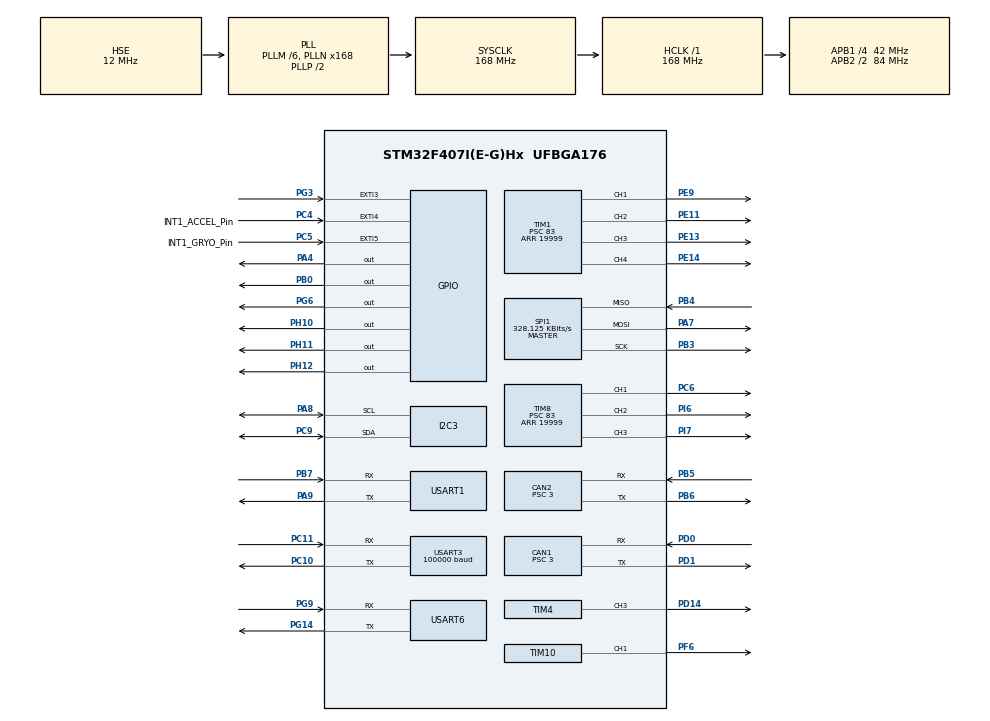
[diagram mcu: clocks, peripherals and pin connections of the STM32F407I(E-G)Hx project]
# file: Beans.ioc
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CAN1.BS1=CAN_BS1_10TQ
CAN1.BS2=CAN_BS2_3TQ
CAN1.CalculateBaudRate=1000000
CAN1.CalculateTimeBit=1000
CAN1.CalculateTimeQuantum=71.42857142857143
CAN1.Prescaler=3
CAN2.BS1=CAN_BS1_10TQ
CAN2.BS2=CAN_BS2_3TQ
CAN2.CalculateBaudRate=1000000
CAN2.CalculateTimeBit=1000
CAN2.CalculateTimeQuantum=71.42857142857143
CAN2.Prescaler=3
Dma.Request0=USART3_RX
Dma.Request1=USART1_TX
Dma.Request2=USART1_RX
Dma.Request3=USART6_RX
Dma.Request4=USART6_TX
Dma.USART1_RX.2.Direction=DMA_PERIPH_TO_MEMORY
Dma.USART1_RX.2.FIFOMode=DMA_FIFOMODE_DISABLE
Dma.USART1_RX.2.Instance=DMA2_Stream2
Dma.USART1_RX.2.MemDataAlignment=DMA_MDATAALIGN_BYTE
Dma.USART1_RX.2.MemInc=DMA_MINC_ENABLE
Dma.USART1_RX.2.Mode=DMA_NORMAL
Dma.USART1_RX.2.PeriphDataAlignment=DMA_PDATAALIGN_BYTE
Dma.USART1_RX.2.PeriphInc=DMA_PINC_DISABLE
Dma.USART1_RX.2.Priority=DMA_PRIORITY_VERY_HIGH
Dma.USART1_TX.1.Direction=DMA_MEMORY_TO_PERIPH
Dma.USART1_TX.1.FIFOMode=DMA_FIFOMODE_DISABLE
Dma.USART1_TX.1.Instance=DMA2_Stream7
Dma.USART1_TX.1.MemDataAlignment=DMA_MDATAALIGN_BYTE
Dma.USART1_TX.1.MemInc=DMA_MINC_ENABLE
Dma.USART1_TX.1.Mode=DMA_NORMAL
Dma.USART1_TX.1.PeriphDataAlignment=DMA_PDATAALIGN_BYTE
Dma.USART1_TX.1.PeriphInc=DMA_PINC_DISABLE
Dma.USART1_TX.1.Priority=DMA_PRIORITY_VERY_HIGH
Dma.USART3_RX.0.Direction=DMA_PERIPH_TO_MEMORY
Dma.USART3_RX.0.FIFOMode=DMA_FIFOMODE_DISABLE
Dma.USART3_RX.0.Instance=DMA1_Stream1
Dma.USART3_RX.0.MemDataAlignment=DMA_MDATAALIGN_BYTE
Dma.USART3_RX.0.MemInc=DMA_MINC_ENABLE
Dma.USART3_RX.0.Mode=DMA_CIRCULAR
Dma.USART3_RX.0.PeriphDataAlignment=DMA_PDATAALIGN_BYTE
Dma.USART3_RX.0.PeriphInc=DMA_PINC_DISABLE
Dma.USART3_RX.0.Priority=DMA_PRIORITY_VERY_HIGH
Dma.USART6_RX.3.Direction=DMA_PERIPH_TO_MEMORY
Dma.USART6_RX.3.FIFOMode=DMA_FIFOMODE_DISABLE
Dma.USART6_RX.3.Instance=DMA2_Stream1
Dma.USART6_RX.3.MemDataAlignment=DMA_MDATAALIGN_BYTE
Dma.USART6_RX.3.MemInc=DMA_MINC_ENABLE
Dma.USART6_RX.3.Mode=DMA_NORMAL
Dma.USART6_RX.3.PeriphDataAlignment=DMA_PDATAALIGN_BYTE
Dma.USART6_RX.3.PeriphInc=DMA_PINC_DISABLE
Dma.USART6_RX.3.Priority=DMA_PRIORITY_VERY_HIGH
Dma.USART6_TX.4.Direction=DMA_MEMORY_TO_PERIPH
Dma.USART6_TX.4.FIFOMode=DMA_FIFOMODE_DISABLE
Dma.USART6_TX.4.Instance=DMA2_Stream6
Dma.USART6_TX.4.MemDataAlignment=DMA_MDATAALIGN_BYTE
Dma.USART6_TX.4.MemInc=DMA_MINC_ENABLE
Dma.USART6_TX.4.Mode=DMA_NORMAL
Dma.USART6_TX.4.PeriphDataAlignment=DMA_PDATAALIGN_BYTE
Dma.USART6_TX.4.PeriphInc=DMA_PINC_DISABLE
Dma.USART6_TX.4.Priority=DMA_PRIORITY_VERY_HIGH
FREERTOS.INCLUDE_pcTaskGetTaskName=1
FREERTOS.INCLUDE_xTaskGetHandle=1
FREERTOS.Tasks01=defaultTask,32,1024,TaskMain,Default,NULL,Dynamic,NULL,NULL;chassisTask,40,1024,TaskChassis,Default,NULL,Dynamic,NULL,NULL;IMUtempPIDtask,24,512,imu_temp_control_task,As weak,NULL,Dynamic,NULL,NULL;turretTask,24,1024,TaskTurret,Default,NULL,Dynamic,NULL,NULL
FREERTOS.configUSE_NEWLIB_REENTRANT=1
I2C3.I2C_Mode=I2C_Fast
Mcu.Family=STM32F4
Mcu.Name=STM32F407I(E-G)Hx
Mcu.Package=UFBGA176
NVIC.CAN1_RX0_IRQn=true\:5\:0\:false\:false\:true\:true\:true\:true\:true
NVIC.CAN2_RX0_IRQn=true\:5\:0\:false\:false\:true\:true\:true\:true\:true
NVIC.DMA1_Stream1_IRQn=true\:5\:0\:false\:false\:true\:true\:false\:true\:true
NVIC.DMA2_Stream1_IRQn=true\:5\:0\:false\:false\:true\:true\:false\:true\:true
NVIC.DMA2_Stream2_IRQn=true\:5\:0\:false\:false\:true\:true\:false\:true\:true
NVIC.DMA2_Stream6_IRQn=true\:5\:0\:false\:false\:true\:true\:false\:true\:true
NVIC.DMA2_Stream7_IRQn=true\:5\:0\:false\:false\:true\:true\:false\:true\:true
NVIC.EXTI3_IRQn=true\:5\:0\:false\:false\:true\:true\:true\:true\:true
NVIC.EXTI4_IRQn=true\:5\:0\:false\:false\:true\:true\:true\:true\:true
NVIC.PriorityGroup=NVIC_PRIORITYGROUP_4
NVIC.USART1_IRQn=true\:5\:0\:false\:false\:true\:true\:true\:true\:true
NVIC.USART3_IRQn=true\:5\:0\:false\:false\:false\:true\:true\:true\:true
NVIC.USART6_IRQn=true\:5\:0\:false\:false\:true\:true\:true\:true\:true
PA13.Mode=Serial_Wire
PA13.Signal=SYS_JTMS-SWDIO
PA14.Mode=Serial_Wire
PA14.Signal=SYS_JTCK-SWCLK
PA4.Signal=GPIO_Output
PA7.Mode=Full_Duplex_Master
PA7.Signal=SPI1_MOSI
PA8.Mode=I2C
PA8.Signal=I2C3_SCL
PA9.Mode=Asynchronous
PA9.Signal=USART1_TX
PB0.Signal=GPIO_Output
PB3.Mode=Full_Duplex_Master
PB3.Signal=SPI1_SCK
PB4.Mode=Full_Duplex_Master
PB4.Signal=SPI1_MISO
PB5.Mode=CAN_Activate
PB5.Signal=CAN2_RX
PB6.Mode=CAN_Activate
PB6.Signal=CAN2_TX
PB7.Mode=Asynchronous
PB7.Signal=USART1_RX
PC10.Mode=Asynchronous
PC10.Signal=USART3_TX
PC11.Mode=Asynchronous
PC11.Signal=USART3_RX
PC4.GPIO_Label=INT1_ACCEL_Pin
PC4.Signal=GPXTI4
PC5.GPIO_Label=INT1_GRYO_Pin
PC5.Signal=GPXTI5
PC6.Signal=S_TIM8_CH1
PC9.Mode=I2C
PC9.Signal=I2C3_SDA
PD0.Mode=CAN_Activate
PD0.Signal=CAN1_RX
PD1.Mode=CAN_Activate
PD1.Signal=CAN1_TX
PD14.Signal=S_TIM4_CH3
PE11.Signal=S_TIM1_CH2
PE13.Signal=S_TIM1_CH3
PE14.Signal=S_TIM1_CH4
PE9.Signal=S_TIM1_CH1
PF6.GPIO_PuPd=GPIO_PULLUP
PF6.GPIO_Speed=GPIO_SPEED_FREQ_HIGH
PF6.Signal=S_TIM10_CH1
PG14.Mode=Asynchronous
PG14.Signal=USART6_TX
PG3.Signal=GPXTI3
PG6.Signal=GPIO_Output
PG9.Mode=Asynchronous
PG9.Signal=USART6_RX
PH0-OSC_IN.Mode=HSE-External-Oscillator
PH0-OSC_IN.Signal=RCC_OSC_IN
PH1-OSC_OUT.Mode=HSE-External-Oscillator
PH1-OSC_OUT.Signal=RCC_OSC_OUT
PH10.Signal=GPIO_Output
PH11.Signal=GPIO_Output
PH12.Signal=GPIO_Output
PI6.Signal=S_TIM8_CH2
PI7.Signal=S_TIM8_CH3
ProjectManager.HeapSize=0x200
ProjectManager.StackSize=0x400
ProjectManager.TargetToolchain=STM32CubeIDE
RCC.48MHZClocksFreq_Value=84000000
RCC.AHBFreq_Value=168000000
RCC.APB1CLKDivider=RCC_HCLK_DIV4
RCC.APB1Freq_Value=42000000
RCC.APB1TimFreq_Value=84000000
RCC.APB2CLKDivider=RCC_HCLK_DIV2
RCC.APB2Freq_Value=84000000
RCC.APB2TimFreq_Value=168000000
RCC.CortexFreq_Value=168000000
RCC.EnbaleCSS=true
RCC.HCLKFreq_Value=168000000
RCC.HSE_VALUE=12000000
RCC.HSI_VALUE=16000000
RCC.LSE_VALUE=32768
RCC.PLLM=6
RCC.PLLN=168
RCC.PLLSourceVirtual=RCC_PLLSOURCE_HSE
RCC.SYSCLKFreq_VALUE=168000000
RCC.SYSCLKSource=RCC_SYSCLKSOURCE_PLLCLK
RCC.VCOOutputFreq_Value=336000000
SH.S_TIM10_CH1.0=TIM10_CH1,PWM Generation1 CH1
SH.S_TIM1_CH1.0=TIM1_CH1,PWM Generation1 CH1
SH.S_TIM1_CH2.0=TIM1_CH2,PWM Generation2 CH2
SH.S_TIM1_CH3.0=TIM1_CH3,PWM Generation3 CH3
SH.S_TIM1_CH4.0=TIM1_CH4,PWM Generation4 CH4
SH.S_TIM4_CH3.0=TIM4_CH3,PWM Generation3 CH3
SH.S_TIM8_CH1.0=TIM8_CH1,PWM Generation1 CH1
SH.S_TIM8_CH2.0=TIM8_CH2,PWM Generation2 CH2
SH.S_TIM8_CH3.0=TIM8_CH3,PWM Generation3 CH3
SPI1.BaudRatePrescaler=SPI_BAUDRATEPRESCALER_256
SPI1.CLKPhase=SPI_PHASE_2EDGE
SPI1.CLKPolarity=SPI_POLARITY_HIGH
SPI1.CalculateBaudRate=328.125 KBits/s
SPI1.Direction=SPI_DIRECTION_2LINES
SPI1.Mode=SPI_MODE_MASTER
SPI1.VirtualType=VM_MASTER
TIM1.AutoReloadPreload=TIM_AUTORELOAD_PRELOAD_DISABLE
TIM1.Channel-PWM\ Generation1\ CH1=TIM_CHANNEL_1
TIM1.Channel-PWM\ Generation2\ CH2=TIM_CHANNEL_2
TIM1.Channel-PWM\ Generation3\ CH3=TIM_CHANNEL_3
TIM1.Channel-PWM\ Generation4\ CH4=TIM_CHANNEL_4
TIM1.Period=19999
TIM1.Prescaler=83
TIM1.Pulse-PWM\ Generation1\ CH1=0
TIM10.Channel=TIM_CHANNEL_1
TIM10.Period=4999
TIM4.AutoReloadPreload=TIM_AUTORELOAD_PRELOAD_ENABLE
TIM4.Channel-PWM\ Generation3\ CH3=TIM_CHANNEL_3
TIM4.Period=20999
TIM4.Pulse-PWM\ Generation3\ CH3=10499
TIM8.AutoReloadPreload=TIM_AUTORELOAD_PRELOAD_ENABLE
TIM8.Channel-PWM\ Generation1\ CH1=TIM_CHANNEL_1
TIM8.Channel-PWM\ Generation2\ CH2=TIM_CHANNEL_2
TIM8.Channel-PWM\ Generation3\ CH3=TIM_CHANNEL_3
TIM8.Period=19999
TIM8.Prescaler=83
USART1.VirtualMode=VM_ASYNC
USART3.BaudRate=100000
USART3.Parity=PARITY_EVEN
USART3.VirtualMode=VM_ASYNC
USART6.VirtualMode=VM_ASYNC
VP_FREERTOS_VS_CMSIS_V2.Mode=CMSIS_V2
VP_TIM10_VS_ClockSourceINT.Mode=Enable_Timer
VP_TIM4_VS_ClockSourceINT.Mode=Internal
board=custom

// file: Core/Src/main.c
/* USER CODE BEGIN Header */
/**
  ******************************************************************************
  * @file           : main.c
  * @brief          : Main program body
  ******************************************************************************
  * @attention
  *
  * Copyright (c) 2024 STMicroelectronics.
  * All rights reserved.
  *
  * This software is licensed under terms that can be found in the LICENSE file
  * in the root directory of this software component.
  * If no LICENSE file comes with this software, it is provided AS-IS.
  *
  ******************************************************************************
  */
/* USER CODE END Header */
#include "main.h"
#include "cmsis_os.h"

/* USER CODE BEGIN Includes */
#include "CAN_receive.h"
#include "bsp_can.h"
#include "remote_control.h"
#include "bsp_rc.h"
#include "UART.h"
#include "stdio.h"
#include "stdarg.h"
#include "string.h"
#include "BMI088driver.h"
#include "pid.h"
#include "bsp_imu_pwm.h"
#include "ist8310driver.h"
/* USER CODE END Includes */

CAN_HandleTypeDef hcan1;
CAN_HandleTypeDef hcan2;

I2C_HandleTypeDef hi2c3;

SPI_HandleTypeDef hspi1;

TIM_HandleTypeDef htim1;
TIM_HandleTypeDef htim4;
TIM_HandleTypeDef htim8;
TIM_HandleTypeDef htim10;

UART_HandleTypeDef huart1;
UART_HandleTypeDef huart3;
UART_HandleTypeDef huart6;
DMA_HandleTypeDef hdma_usart1_tx;
DMA_HandleTypeDef hdma_usart1_rx;
DMA_HandleTypeDef hdma_usart3_rx;
DMA_HandleTypeDef hdma_usart6_rx;
DMA_HandleTypeDef hdma_usart6_tx;

/* Definitions for defaultTask */
osThreadId_t defaultTaskHandle;
const osThreadAttr_t defaultTask_attributes = {
  .name = "defaultTask",
  .stack_size = 1024 * 4,
  .priority = (osPriority_t) osPriorityAboveNormal,
};
/* Definitions for chassisTask */
osThreadId_t chassisTaskHandle;
const osThreadAttr_t chassisTask_attributes = {
  .name = "chassisTask",
  .stack_size = 1024 * 4,
  .priority = (osPriority_t) osPriorityHigh,
};
/* Definitions for IMUtempPIDtask */
osThreadId_t IMUtempPIDtaskHandle;
const osThreadAttr_t IMUtempPIDtask_attributes = {
  .name = "IMUtempPIDtask",
  .stack_size = 512 * 4,
  .priority = (osPriority_t) osPriorityNormal,
};
/* Definitions for turretTask */
osThreadId_t turretTaskHandle;
const osThreadAttr_t turretTask_attributes = {
  .name = "turretTask",
  .stack_size = 1024 * 4,
  .priority = (osPriority_t) osPriorityNormal,
};
/* USER CODE BEGIN PV */
const RC_ctrl_t *local_rc_ctrl;

PID_preset_t chassisPreset = {3.6, 0.015, 4.2};  //0.8f, 0.025f, 0.95f   {1.6, 0.045, 0.10}; 32 0.42
PID_preset_t yawPresetCurrentRPM = {46, 10.0, 16.4};
PID_preset_t yawPresetVoltageRPM = {50, 8.0, 2.0};
PID_preset_t yawPresetCurrentPosition = {12, 1, 0.0};

PID_preset_t yawPresetVoltagePosition = {36, 0, 0.0};

PID_preset_t indexerPreset = {1.1f, 0.02f, -2.4f};
PID_preset_t shooterPreset = {1.20f, 0.12f, 1.60f};
PID_preset_t powerPreset = {0, 0.000000000001, 0};
PID_preset_t customPreset = {0, 0, 0};

int target = 2000;

can_msg_id_e boardID = CAN_b2b_B_ID;               // remember to change the board ID, board A - chassis, board B - Pitch axis

chassis_motor_config chassis = {{1,2,3,4,0,0,0,0}};
chassis_motor_RPM chassisTargetRPM = {{0,0,0,0,0,0,0,0}};
chassis_motor_current chassisTargetCurrent = {{0,0,0,0,0,0,0,0}};

extern game_status_t game_status;
extern power_heat_data_t power_heat_data;
extern robot_status_t robot_status;
extern b2b_motorCtrl_t b2bMotorCtrl;
extern b2b_gyro_t b2bGyro;

float calcChassisPower = 0;

/* USER CODE END PV */

void SystemClock_Config(void);
static void MX_GPIO_Init(void);
static void MX_DMA_Init(void);
static void MX_CAN1_Init(void);
static void MX_CAN2_Init(void);
static void MX_SPI1_Init(void);
static void MX_TIM4_Init(void);
static void MX_USART1_UART_Init(void);
static void MX_USART6_UART_Init(void);
static void MX_TIM1_Init(void);
static void MX_TIM8_Init(void);
static void MX_USART3_UART_Init(void);
static void MX_TIM10_Init(void);
static void MX_I2C3_Init(void);
void TaskMain(void *argument);
void TaskChassis(void *argument);
void imu_temp_control_task(void *argument);
void TaskTurret(void *argument);

int main(void)
{

  /* MCU Configuration--------------------------------------------------------*/

  /* Reset of all peripherals, Initializes the Flash interface and the Systick. */
  HAL_Init();

  /* Configure the system clock */
  SystemClock_Config();

  /* Initialize all configured peripherals */
  MX_GPIO_Init();
  MX_DMA_Init();
  MX_CAN1_Init();
  MX_CAN2_Init();
  MX_SPI1_Init();
  MX_TIM4_Init();
  MX_USART1_UART_Init();
  MX_USART6_UART_Init();
  MX_TIM1_Init();
  MX_TIM8_Init();
  MX_USART3_UART_Init();
  MX_TIM10_Init();
  MX_I2C3_Init();
  /* USER CODE BEGIN 2 */
  can_filter_init();
  remote_control_init();
  usart_Init();
  local_rc_ctrl = get_remote_control_point();

  //__HAL_UART_ENABLE_IT(&huart1,UART_IT_IDLE);
  /* USER CODE END 2 */

  /* Init scheduler */
  osKernelInitialize();

  /* Create the thread(s) */
  /* creation of defaultTask */
  defaultTaskHandle = osThreadNew(TaskMain, NULL, &defaultTask_attributes);

  /* creation of chassisTask */
  chassisTaskHandle = osThreadNew(TaskChassis, NULL, &chassisTask_attributes);

  /* creation of IMUtempPIDtask */
  IMUtempPIDtaskHandle = osThreadNew(imu_temp_control_task, NULL, &IMUtempPIDtask_attributes);

  /* creation of turretTask */
  turretTaskHandle = osThreadNew(TaskTurret, NULL, &turretTask_attributes);

  /* Start scheduler */
  osKernelStart();

  /* We should never get here as control is now taken by the scheduler */
  /* Infinite loop */
  while (1)
  {

  }
}

void SystemClock_Config(void)
{
  RCC_OscInitTypeDef RCC_OscInitStruct = {0};
  RCC_ClkInitTypeDef RCC_ClkInitStruct = {0};

  /** Configure the main internal regulator output voltage
  */
  __HAL_RCC_PWR_CLK_ENABLE();
  __HAL_PWR_VOLTAGESCALING_CONFIG(PWR_REGULATOR_VOLTAGE_SCALE1);

  /** Initializes the RCC Oscillators according to the specified parameters
  * in the RCC_OscInitTypeDef structure.
  */
  RCC_OscInitStruct.OscillatorType = RCC_OSCILLATORTYPE_HSE;
  RCC_OscInitStruct.HSEState = RCC_HSE_ON;
  RCC_OscInitStruct.PLL.PLLState = RCC_PLL_ON;
  RCC_OscInitStruct.PLL.PLLSource = RCC_PLLSOURCE_HSE;
  RCC_OscInitStruct.PLL.PLLM = 6;
  RCC_OscInitStruct.PLL.PLLN = 168;
  RCC_OscInitStruct.PLL.PLLP = RCC_PLLP_DIV2;
  RCC_OscInitStruct.PLL.PLLQ = 4;
  if (HAL_RCC_OscConfig(&RCC_OscInitStruct) != HAL_OK)
  {
    Error_Handler();
  }

  /** Initializes the CPU, AHB and APB buses clocks
  */
  RCC_ClkInitStruct.ClockType = RCC_CLOCKTYPE_HCLK|RCC_CLOCKTYPE_SYSCLK
                              |RCC_CLOCKTYPE_PCLK1|RCC_CLOCKTYPE_PCLK2;
  RCC_ClkInitStruct.SYSCLKSource = RCC_SYSCLKSOURCE_PLLCLK;
  RCC_ClkInitStruct.AHBCLKDivider = RCC_SYSCLK_DIV1;
  RCC_ClkInitStruct.APB1CLKDivider = RCC_HCLK_DIV4;
  RCC_ClkInitStruct.APB2CLKDivider = RCC_HCLK_DIV2;

  if (HAL_RCC_ClockConfig(&RCC_ClkInitStruct, FLASH_LATENCY_5) != HAL_OK)
  {
    Error_Handler();
  }

  /** Enables the Clock Security System
  */
  HAL_RCC_EnableCSS();
}

static void MX_CAN1_Init(void)
{

  hcan1.Instance = CAN1;
  hcan1.Init.Prescaler = 3;
  hcan1.Init.Mode = CAN_MODE_NORMAL;
  hcan1.Init.SyncJumpWidth = CAN_SJW_1TQ;
  hcan1.Init.TimeSeg1 = CAN_BS1_10TQ;
  hcan1.Init.TimeSeg2 = CAN_BS2_3TQ;
  hcan1.Init.TimeTriggeredMode = DISABLE;
  hcan1.Init.AutoBusOff = DISABLE;
  hcan1.Init.AutoWakeUp = DISABLE;
  hcan1.Init.AutoRetransmission = DISABLE;
  hcan1.Init.ReceiveFifoLocked = DISABLE;
  hcan1.Init.TransmitFifoPriority = DISABLE;
  if (HAL_CAN_Init(&hcan1) != HAL_OK)
  {
    Error_Handler();
  }

}

static void MX_CAN2_Init(void)
{

  hcan2.Instance = CAN2;
  hcan2.Init.Prescaler = 3;
  hcan2.Init.Mode = CAN_MODE_NORMAL;
  hcan2.Init.SyncJumpWidth = CAN_SJW_1TQ;
  hcan2.Init.TimeSeg1 = CAN_BS1_10TQ;
  hcan2.Init.TimeSeg2 = CAN_BS2_3TQ;
  hcan2.Init.TimeTriggeredMode = DISABLE;
  hcan2.Init.AutoBusOff = DISABLE;
  hcan2.Init.AutoWakeUp = DISABLE;
  hcan2.Init.AutoRetransmission = DISABLE;
  hcan2.Init.ReceiveFifoLocked = DISABLE;
  hcan2.Init.TransmitFifoPriority = DISABLE;
  if (HAL_CAN_Init(&hcan2) != HAL_OK)
  {
    Error_Handler();
  }

}

static void MX_I2C3_Init(void)
{

  hi2c3.Instance = I2C3;
  hi2c3.Init.ClockSpeed = 400000;
  hi2c3.Init.DutyCycle = I2C_DUTYCYCLE_2;
  hi2c3.Init.OwnAddress1 = 0;
  hi2c3.Init.AddressingMode = I2C_ADDRESSINGMODE_7BIT;
  hi2c3.Init.DualAddressMode = I2C_DUALADDRESS_DISABLE;
  hi2c3.Init.OwnAddress2 = 0;
  hi2c3.Init.GeneralCallMode = I2C_GENERALCALL_DISABLE;
  hi2c3.Init.NoStretchMode = I2C_NOSTRETCH_DISABLE;
  if (HAL_I2C_Init(&hi2c3) != HAL_OK)
  {
    Error_Handler();
  }

}

static void MX_SPI1_Init(void)
{

  /* SPI1 parameter configuration*/
  hspi1.Instance = SPI1;
  hspi1.Init.Mode = SPI_MODE_MASTER;
  hspi1.Init.Direction = SPI_DIRECTION_2LINES;
  hspi1.Init.DataSize = SPI_DATASIZE_8BIT;
  hspi1.Init.CLKPolarity = SPI_POLARITY_HIGH;
  hspi1.Init.CLKPhase = SPI_PHASE_2EDGE;
  hspi1.Init.NSS = SPI_NSS_SOFT;
  hspi1.Init.BaudRatePrescaler = SPI_BAUDRATEPRESCALER_256;
  hspi1.Init.FirstBit = SPI_FIRSTBIT_MSB;
  hspi1.Init.TIMode = SPI_TIMODE_DISABLE;
  hspi1.Init.CRCCalculation = SPI_CRCCALCULATION_DISABLE;
  hspi1.Init.CRCPolynomial = 10;
  if (HAL_SPI_Init(&hspi1) != HAL_OK)
  {
    Error_Handler();
  }

}

static void MX_TIM1_Init(void)
{

  TIM_MasterConfigTypeDef sMasterConfig = {0};
  TIM_OC_InitTypeDef sConfigOC = {0};
  TIM_BreakDeadTimeConfigTypeDef sBreakDeadTimeConfig = {0};

  htim1.Instance = TIM1;
  htim1.Init.Prescaler = 83;
  htim1.Init.CounterMode = TIM_COUNTERMODE_UP;
  htim1.Init.Period = 19999;
  htim1.Init.ClockDivision = TIM_CLOCKDIVISION_DIV1;
  htim1.Init.RepetitionCounter = 0;
  htim1.Init.AutoReloadPreload = TIM_AUTORELOAD_PRELOAD_DISABLE;
  if (HAL_TIM_PWM_Init(&htim1) != HAL_OK)
  {
    Error_Handler();
  }
  sMasterConfig.MasterOutputTrigger = TIM_TRGO_RESET;
  sMasterConfig.MasterSlaveMode = TIM_MASTERSLAVEMODE_DISABLE;
  if (HAL_TIMEx_MasterConfigSynchronization(&htim1, &sMasterConfig) != HAL_OK)
  {
    Error_Handler();
  }
  sConfigOC.OCMode = TIM_OCMODE_PWM1;
  sConfigOC.Pulse = 0;
  sConfigOC.OCPolarity = TIM_OCPOLARITY_HIGH;
  sConfigOC.OCNPolarity = TIM_OCNPOLARITY_HIGH;
  sConfigOC.OCFastMode = TIM_OCFAST_DISABLE;
  sConfigOC.OCIdleState = TIM_OCIDLESTATE_RESET;
  sConfigOC.OCNIdleState = TIM_OCNIDLESTATE_RESET;
  if (HAL_TIM_PWM_ConfigChannel(&htim1, &sConfigOC, TIM_CHANNEL_1) != HAL_OK)
  {
    Error_Handler();
  }
  if (HAL_TIM_PWM_ConfigChannel(&htim1, &sConfigOC, TIM_CHANNEL_2) != HAL_OK)
  {
    Error_Handler();
  }
  if (HAL_TIM_PWM_ConfigChannel(&htim1, &sConfigOC, TIM_CHANNEL_3) != HAL_OK)
  {
    Error_Handler();
  }
  if (HAL_TIM_PWM_ConfigChannel(&htim1, &sConfigOC, TIM_CHANNEL_4) != HAL_OK)
  {
    Error_Handler();
  }
  sBreakDeadTimeConfig.OffStateRunMode = TIM_OSSR_DISABLE;
  sBreakDeadTimeConfig.OffStateIDLEMode = TIM_OSSI_DISABLE;
  sBreakDeadTimeConfig.LockLevel = TIM_LOCKLEVEL_OFF;
  sBreakDeadTimeConfig.DeadTime = 0;
  sBreakDeadTimeConfig.BreakState = TIM_BREAK_DISABLE;
  sBreakDeadTimeConfig.BreakPolarity = TIM_BREAKPOLARITY_HIGH;
  sBreakDeadTimeConfig.AutomaticOutput = TIM_AUTOMATICOUTPUT_DISABLE;
  if (HAL_TIMEx_ConfigBreakDeadTime(&htim1, &sBreakDeadTimeConfig) != HAL_OK)
  {
    Error_Handler();
  }
  HAL_TIM_MspPostInit(&htim1);

}

static void MX_TIM4_Init(void)
{

  TIM_ClockConfigTypeDef sClockSourceConfig = {0};
  TIM_MasterConfigTypeDef sMasterConfig = {0};
  TIM_OC_InitTypeDef sConfigOC = {0};

  htim4.Instance = TIM4;
  htim4.Init.Prescaler = 0;
  htim4.Init.CounterMode = TIM_COUNTERMODE_UP;
  htim4.Init.Period = 20999;
  htim4.Init.ClockDivision = TIM_CLOCKDIVISION_DIV1;
  htim4.Init.AutoReloadPreload = TIM_AUTORELOAD_PRELOAD_ENABLE;
  if (HAL_TIM_Base_Init(&htim4) != HAL_OK)
  {
    Error_Handler();
  }
  sClockSourceConfig.ClockSource = TIM_CLOCKSOURCE_INTERNAL;
  if (HAL_TIM_ConfigClockSource(&htim4, &sClockSourceConfig) != HAL_OK)
  {
    Error_Handler();
  }
  if (HAL_TIM_PWM_Init(&htim4) != HAL_OK)
  {
    Error_Handler();
  }
  sMasterConfig.MasterOutputTrigger = TIM_TRGO_RESET;
  sMasterConfig.MasterSlaveMode = TIM_MASTERSLAVEMODE_DISABLE;
  if (HAL_TIMEx_MasterConfigSynchronization(&htim4, &sMasterConfig) != HAL_OK)
  {
    Error_Handler();
  }
  sConfigOC.OCMode = TIM_OCMODE_PWM1;
  sConfigOC.Pulse = 10499;
  sConfigOC.OCPolarity = TIM_OCPOLARITY_HIGH;
  sConfigOC.OCFastMode = TIM_OCFAST_DISABLE;
  if (HAL_TIM_PWM_ConfigChannel(&htim4, &sConfigOC, TIM_CHANNEL_3) != HAL_OK)
  {
    Error_Handler();
  }
  HAL_TIM_MspPostInit(&htim4);

}

static void MX_TIM8_Init(void)
{

  TIM_MasterConfigTypeDef sMasterConfig = {0};
  TIM_OC_InitTypeDef sConfigOC = {0};
  TIM_BreakDeadTimeConfigTypeDef sBreakDeadTimeConfig = {0};

  htim8.Instance = TIM8;
  htim8.Init.Prescaler = 83;
  htim8.Init.CounterMode = TIM_COUNTERMODE_UP;
  htim8.Init.Period = 19999;
  htim8.Init.ClockDivision = TIM_CLOCKDIVISION_DIV1;
  htim8.Init.RepetitionCounter = 0;
  htim8.Init.AutoReloadPreload = TIM_AUTORELOAD_PRELOAD_ENABLE;
  if (HAL_TIM_PWM_Init(&htim8) != HAL_OK)
  {
    Error_Handler();
  }
  sMasterConfig.MasterOutputTrigger = TIM_TRGO_RESET;
  sMasterConfig.MasterSlaveMode = TIM_MASTERSLAVEMODE_DISABLE;
  if (HAL_TIMEx_MasterConfigSynchronization(&htim8, &sMasterConfig) != HAL_OK)
  {
    Error_Handler();
  }
  sConfigOC.OCMode = TIM_OCMODE_PWM1;
  sConfigOC.Pulse = 0;
  sConfigOC.OCPolarity = TIM_OCPOLARITY_HIGH;
  sConfigOC.OCNPolarity = TIM_OCNPOLARITY_HIGH;
  sConfigOC.OCFastMode = TIM_OCFAST_DISABLE;
  sConfigOC.OCIdleState = TIM_OCIDLESTATE_RESET;
  sConfigOC.OCNIdleState = TIM_OCNIDLESTATE_RESET;
  if (HAL_TIM_PWM_ConfigChannel(&htim8, &sConfigOC, TIM_CHANNEL_1) != HAL_OK)
  {
    Error_Handler();
  }
  if (HAL_TIM_PWM_ConfigChannel(&htim8, &sConfigOC, TIM_CHANNEL_2) != HAL_OK)
  {
    Error_Handler();
  }
  if (HAL_TIM_PWM_ConfigChannel(&htim8, &sConfigOC, TIM_CHANNEL_3) != HAL_OK)
  {
    Error_Handler();
  }
  sBreakDeadTimeConfig.OffStateRunMode = TIM_OSSR_DISABLE;
  sBreakDeadTimeConfig.OffStateIDLEMode = TIM_OSSI_DISABLE;
  sBreakDeadTimeConfig.LockLevel = TIM_LOCKLEVEL_OFF;
  sBreakDeadTimeConfig.DeadTime = 0;
  sBreakDeadTimeConfig.BreakState = TIM_BREAK_DISABLE;
  sBreakDeadTimeConfig.BreakPolarity = TIM_BREAKPOLARITY_HIGH;
  sBreakDeadTimeConfig.AutomaticOutput = TIM_AUTOMATICOUTPUT_DISABLE;
  if (HAL_TIMEx_ConfigBreakDeadTime(&htim8, &sBreakDeadTimeConfig) != HAL_OK)
  {
    Error_Handler();
  }
  HAL_TIM_MspPostInit(&htim8);

}

static void MX_TIM10_Init(void)
{

  TIM_OC_InitTypeDef sConfigOC = {0};

  htim10.Instance = TIM10;
  htim10.Init.Prescaler = 0;
  htim10.Init.CounterMode = TIM_COUNTERMODE_UP;
  htim10.Init.Period = 4999;
  htim10.Init.ClockDivision = TIM_CLOCKDIVISION_DIV1;
  htim10.Init.AutoReloadPreload = TIM_AUTORELOAD_PRELOAD_DISABLE;
  if (HAL_TIM_Base_Init(&htim10) != HAL_OK)
  {
    Error_Handler();
  }
  if (HAL_TIM_PWM_Init(&htim10) != HAL_OK)
  {
    Error_Handler();
  }
  sConfigOC.OCMode = TIM_OCMODE_PWM1;
  sConfigOC.Pulse = 0;
  sConfigOC.OCPolarity = TIM_OCPOLARITY_HIGH;
  sConfigOC.OCFastMode = TIM_OCFAST_DISABLE;
  if (HAL_TIM_PWM_ConfigChannel(&htim10, &sConfigOC, TIM_CHANNEL_1) != HAL_OK)
  {
    Error_Handler();
  }
  HAL_TIM_MspPostInit(&htim10);

}

static void MX_USART1_UART_Init(void)
{

  huart1.Instance = USART1;
  huart1.Init.BaudRate = 115200;
  huart1.Init.WordLength = UART_WORDLENGTH_8B;
  huart1.Init.StopBits = UART_STOPBITS_1;
  huart1.Init.Parity = UART_PARITY_NONE;
  huart1.Init.Mode = UART_MODE_TX_RX;
  huart1.Init.HwFlowCtl = UART_HWCONTROL_NONE;
  huart1.Init.OverSampling = UART_OVERSAMPLING_16;
  if (HAL_UART_Init(&huart1) != HAL_OK)
  {
    Error_Handler();
  }

}

static void MX_USART3_UART_Init(void)
{

  huart3.Instance = USART3;
  huart3.Init.BaudRate = 100000;
  huart3.Init.WordLength = UART_WORDLENGTH_8B;
  huart3.Init.StopBits = UART_STOPBITS_1;
  huart3.Init.Parity = UART_PARITY_EVEN;
  huart3.Init.Mode = UART_MODE_TX_RX;
  huart3.Init.HwFlowCtl = UART_HWCONTROL_NONE;
  huart3.Init.OverSampling = UART_OVERSAMPLING_16;
  if (HAL_UART_Init(&huart3) != HAL_OK)
  {
    Error_Handler();
  }

}

static void MX_USART6_UART_Init(void)
{

  huart6.Instance = USART6;
  huart6.Init.BaudRate = 115200;
  huart6.Init.WordLength = UART_WORDLENGTH_8B;
  huart6.Init.StopBits = UART_STOPBITS_1;
  huart6.Init.Parity = UART_PARITY_NONE;
  huart6.Init.Mode = UART_MODE_TX_RX;
  huart6.Init.HwFlowCtl = UART_HWCONTROL_NONE;
  huart6.Init.OverSampling = UART_OVERSAMPLING_16;
  if (HAL_UART_Init(&huart6) != HAL_OK)
  {
    Error_Handler();
  }

}

static void MX_DMA_Init(void)
{

  /* DMA controller clock enable */
  __HAL_RCC_DMA1_CLK_ENABLE();
  __HAL_RCC_DMA2_CLK_ENABLE();

  /* DMA interrupt init */
  /* DMA1_Stream1_IRQn interrupt configuration */
  HAL_NVIC_SetPriority(DMA1_Stream1_IRQn, 5, 0);
  HAL_NVIC_EnableIRQ(DMA1_Stream1_IRQn);
  /* DMA2_Stream1_IRQn interrupt configuration */
  HAL_NVIC_SetPriority(DMA2_Stream1_IRQn, 5, 0);
  HAL_NVIC_EnableIRQ(DMA2_Stream1_IRQn);
  /* DMA2_Stream2_IRQn interrupt configuration */
  HAL_NVIC_SetPriority(DMA2_Stream2_IRQn, 5, 0);
  HAL_NVIC_EnableIRQ(DMA2_Stream2_IRQn);
  /* DMA2_Stream6_IRQn interrupt configuration */
  HAL_NVIC_SetPriority(DMA2_Stream6_IRQn, 5, 0);
  HAL_NVIC_EnableIRQ(DMA2_Stream6_IRQn);
  /* DMA2_Stream7_IRQn interrupt configuration */
  HAL_NVIC_SetPriority(DMA2_Stream7_IRQn, 5, 0);
  HAL_NVIC_EnableIRQ(DMA2_Stream7_IRQn);

}

static void MX_GPIO_Init(void)
{
  GPIO_InitTypeDef GPIO_InitStruct = {0};

  /* GPIO Ports Clock Enable */
  __HAL_RCC_GPIOB_CLK_ENABLE();
  __HAL_RCC_GPIOG_CLK_ENABLE();
  __HAL_RCC_GPIOA_CLK_ENABLE();
  __HAL_RCC_GPIOD_CLK_ENABLE();
  __HAL_RCC_GPIOC_CLK_ENABLE();
  __HAL_RCC_GPIOI_CLK_ENABLE();
  __HAL_RCC_GPIOH_CLK_ENABLE();
  __HAL_RCC_GPIOF_CLK_ENABLE();
  __HAL_RCC_GPIOE_CLK_ENABLE();

  /*Configure GPIO pin Output Level */
  HAL_GPIO_WritePin(GPIOG, GPIO_PIN_6, GPIO_PIN_RESET);

  /*Configure GPIO pin Output Level */
  HAL_GPIO_WritePin(GPIOH, GPIO_PIN_12|GPIO_PIN_11|GPIO_PIN_10, GPIO_PIN_RESET);

  /*Configure GPIO pin Output Level */
  HAL_GPIO_WritePin(GPIOA, GPIO_PIN_4, GPIO_PIN_RESET);

  /*Configure GPIO pin Output Level */
  HAL_GPIO_WritePin(GPIOB, GPIO_PIN_0, GPIO_PIN_RESET);

  /*Configure GPIO pin : PG6 */
  GPIO_InitStruct.Pin = GPIO_PIN_6;
  GPIO_InitStruct.Mode = GPIO_MODE_OUTPUT_PP;
  GPIO_InitStruct.Pull = GPIO_NOPULL;
  GPIO_InitStruct.Speed = GPIO_SPEED_FREQ_LOW;
  HAL_GPIO_Init(GPIOG, &GPIO_InitStruct);

  /*Configure GPIO pins : PH12 PH11 PH10 */
  GPIO_InitStruct.Pin = GPIO_PIN_12|GPIO_PIN_11|GPIO_PIN_10;
  GPIO_InitStruct.Mode = GPIO_MODE_OUTPUT_PP;
  GPIO_InitStruct.Pull = GPIO_NOPULL;
  GPIO_InitStruct.Speed = GPIO_SPEED_FREQ_LOW;
  HAL_GPIO_Init(GPIOH, &GPIO_InitStruct);

  /*Configure GPIO pin : PG3 */
  GPIO_InitStruct.Pin = GPIO_PIN_3;
  GPIO_InitStruct.Mode = GPIO_MODE_IT_RISING;
  GPIO_InitStruct.Pull = GPIO_NOPULL;
  HAL_GPIO_Init(GPIOG, &GPIO_InitStruct);

  /*Configure GPIO pin : PA4 */
  GPIO_InitStruct.Pin = GPIO_PIN_4;
  GPIO_InitStruct.Mode = GPIO_MODE_OUTPUT_PP;
  GPIO_InitStruct.Pull = GPIO_NOPULL;
  GPIO_InitStruct.Speed = GPIO_SPEED_FREQ_LOW;
  HAL_GPIO_Init(GPIOA, &GPIO_InitStruct);

  /*Configure GPIO pins : INT1_ACCEL_Pin_Pin INT1_GRYO_Pin_Pin */
  GPIO_InitStruct.Pin = INT1_ACCEL_Pin_Pin|INT1_GRYO_Pin_Pin;
  GPIO_InitStruct.Mode = GPIO_MODE_IT_RISING;
  GPIO_InitStruct.Pull = GPIO_NOPULL;
  HAL_GPIO_Init(GPIOC, &GPIO_InitStruct);

  /*Configure GPIO pin : PB0 */
  GPIO_InitStruct.Pin = GPIO_PIN_0;
  GPIO_InitStruct.Mode = GPIO_MODE_OUTPUT_PP;
  GPIO_InitStruct.Pull = GPIO_NOPULL;
  GPIO_InitStruct.Speed = GPIO_SPEED_FREQ_LOW;
  HAL_GPIO_Init(GPIOB, &GPIO_InitStruct);

  /* EXTI interrupt init*/
  HAL_NVIC_SetPriority(EXTI3_IRQn, 5, 0);
  HAL_NVIC_EnableIRQ(EXTI3_IRQn);

  HAL_NVIC_SetPriority(EXTI4_IRQn, 5, 0);
  HAL_NVIC_EnableIRQ(EXTI4_IRQn);

}

void TaskMain(void *argument)
{
  /* USER CODE BEGIN 5 */
  /* Infinite loop */
	HAL_GPIO_WritePin(GPIOH, GPIO_PIN_10, 1);
	__HAL_TIM_PRESCALER(&htim4, 2);
	HAL_TIM_PWM_Start(&htim4, TIM_CHANNEL_3);
	HAL_TIM_Base_Start(&htim4);
	if (BMI088_accel_init()) {
		usart_printf("WARNING - BMI088 accelerometer init failed \r\n");
	}
	if (BMI088_gyro_init()) {
		usart_printf("WARNING - BMI088 gyroscope init failed \r\n");
	}
	if (ist8310_init()) {
		usart_printf("WARNING - IST8310 compass init failed \r\n");
	}
	osDelay(150);
	__HAL_TIM_PRESCALER(&htim4, 0);
	osDelay(150);
	HAL_TIM_PWM_Stop(&htim4, TIM_CHANNEL_3);

	for(;;) {
		HAL_GPIO_WritePin(GPIOH, GPIO_PIN_10, 0);
		//set_motor_voltage(5, 4000);
		osDelay(500);
		//sendB2bData(CAN_b2b_A_ID, 1, 1, 1, 1);
		HAL_GPIO_WritePin(GPIOH, GPIO_PIN_10, 1);
		//set_motor_voltage(5, -4000);
		osDelay(500);
		//sendB2bData(CAN_b2b_A_ID, 0, 0, 0, 0);
		//usart_printf("ACTIVE = %d \r\n", power_heat_data.chassis_power);
	}
  /* USER CODE END 5 */
}

void TaskChassis(void *argument)
{
  /* USER CODE BEGIN TaskChassis */
    int16_t rcRPM[4] = {0,0,0,0};                              // maps rc percentage reading to motors, assuming we're running M3508s at max 469RPM
    int16_t rcPitch = 0;
    float calcChassisPower = 0;                                 // range: 3376 ~ 2132
    int8_t jammed = 0;
    int8_t indexerStopped = 1;
    int8_t indexerTargetReached = 0;
    b2bMotorCtrl.motor1_Ctrl = 1;
    HAL_GPIO_WritePin(GPIOH, GPIO_PIN_11, 1);
    //int16_t targetRPM[4] = {0,0,0,0};
  /* Infinite loop */
    for(;;) {
	    for (int i = 0; i < 4; i++) {
	        rcRPM[i] = getRCchannel(i) * 13.645f;              // 13.645 = 469 / 187 / 660 * 3591, 660 = max reading in one direction
	    }
	    rcPitch = getRCchannel(1) * 0.94f + 2754;

	    chassisTargetRPM.motorRPM[0] = rcRPM[3] + rcRPM[0] + rcRPM[2];
	    chassisTargetRPM.motorRPM[1] = rcRPM[3] + rcRPM[0] - rcRPM[2];
	    chassisTargetRPM.motorRPM[2] = -rcRPM[3] + rcRPM[0] - rcRPM[2];
	    chassisTargetRPM.motorRPM[3] = -rcRPM[3] + rcRPM[0] + rcRPM[2];
	    //gyroReading[0] = IMU_get_gyro(x);
	    //gyroReading[1] = IMU_get_gyro(y);
	    //gyroReading[2] = IMU_get_gyro(z);
	    //usart_printf("%f %f %f %f \r\n", getMagnetometerData(x), getMagnetometerData(y), getMagnetometerData(z), IMU_get_temp());
	    //usart_printf("%d \r\n", targetMotorRPM.motorRPM[0]);
	    calcChassisPower = power_heat_data.chassis_voltage * power_heat_data.chassis_current / 1000000;

	    //if (calcChassisPower >= 30) {
	    //chassisTargetCurrent = applyPowerlimit(chassis, chassisTargetRPM, calcChassisPower);

	    //CAN1_cmd_b2b(CAN_b2b_A_ID, 1, 1, 1, 1);

	    if (boardID == CAN_b2b_A_ID) {
	    	setM3508RPM(1, chassisTargetRPM.motorRPM[0], chassisPreset);
	    	setM3508RPM(2, chassisTargetRPM.motorRPM[1], chassisPreset);
	    	setM3508RPM(3, chassisTargetRPM.motorRPM[2], chassisPreset);
	    	setM3508RPM(4, chassisTargetRPM.motorRPM[3], chassisPreset);
	    	usart_printf("%d \r\n", b2bGyro.gyro_x);

	    	sendB2bData(CAN_b2b_A_motorCtrl_ID, rcPitch, getRCswitch(1), 0, 0);
	    	//usart_printf("%d %d\r\n", b2bGyro.gyro_x, b2bGyro.gyro_y);
	    }

	    if (boardID == CAN_b2b_B_ID) {
	    	setGM6020voltageRPM(9, 4000, yawPresetVoltagePosition);
	    	//b2bMotorCtrl.motor1_Ctrl

	    	//setGM6020voltageRPM(9, 100, yawPresetVoltageRPM);
	    	//CAN2_cmd_motors(CAN_GROUP3C_ID, 5000, 0, 0, 0);
	    	if (b2bMotorCtrl.motor2_Ctrl == 2) {                                         // IMPORTANT: top to bottom: 1 -> 3 -> 2
	    		//setM2006RPM(6, -5400, indexerPreset);                             // THIS IS FUCKING STUPID
	    		setM3508RPM(7, 8000, shooterPreset);
	    		setM3508RPM(8, -8000, shooterPreset);

	    		if (jammed > 0 && indexerStopped == 0) {
	    			setM2006RPM(6, 15000, indexerPreset);
	    			jammed--;
	    		} else {
	    			indexerStopped = 0;
	    			setM2006RPM(6, -5400, indexerPreset);
	    			if (indexerTargetReached == 0 && getMotorRPM(6) <= -10) {
	    				indexerTargetReached = 1;
	    			} else if (getMotorRPM(6) > -1 && indexerTargetReached == 1) {         // jammed
	    				jammed = 12;
	    				indexerTargetReached = 0;
	    			}
	    		}

	    	} else if (b2bMotorCtrl.motor2_Ctrl == 3) {
	    		setM2006RPM(6, 0, indexerPreset);
	    		setM3508RPM(7, 8000, shooterPreset);
	    		setM3508RPM(8, -8000, shooterPreset);
	    		indexerStopped = 1;
	    		indexerTargetReached = 0;
	    	} else {       // = 1
	    		setM2006RPM(6, 0, indexerPreset);
	    		setM3508RPM(7, 0, shooterPreset);
	    		setM3508RPM(8, 0, shooterPreset);
	    		indexerStopped = 1;
	    		indexerTargetReached = 0;
	    	}
	    	sendB2bData(CAN_b2b_B_gyro_ID, 1, 0, 0, 0);
	    }
	    //set_GM6020_current(5, 8000);               getMotorPosition(9) getMotorCurrent(9)
	    //set_GM6020_voltage(5, 2000);
	    //setGM6020voltageRPM(5, 100, yawPresetVoltageRPM);
	    //setGM6020currentPosition(5, target, yawPresetPosition);
	    //setGM6020voltagePosition(5, target, yawPresetVoltagePosition);
	    //usart_printf("%d\r\n", getMotorRPM(5));
	    //usart_printRC();
	    //sprintf((char*)txbuf, "%f \r\n", power_heat_data.chassis_power);
	    //HAL_UART_Transmit(&huart1, txbuf, strlen((char*)txbuf), HAL_MAX_DELAY);
	    //txbuf = *((float*)&power_heat_data.chassis_power);
	    //usart_printf("%f %d\r\n", calcChassisPower, 30);

        osDelay(5);
    }
  /* USER CODE END TaskChassis */
}

__weak void imu_temp_control_task(void *argument)
{
  for(;;)
  {
    osDelay(1);
  }
}

void TaskTurret(void *argument)
{
  for(;;)
  {
    osDelay(1);
  }
}

void Error_Handler(void)
{
  __disable_irq();
  while (1)
  {
  }
}
